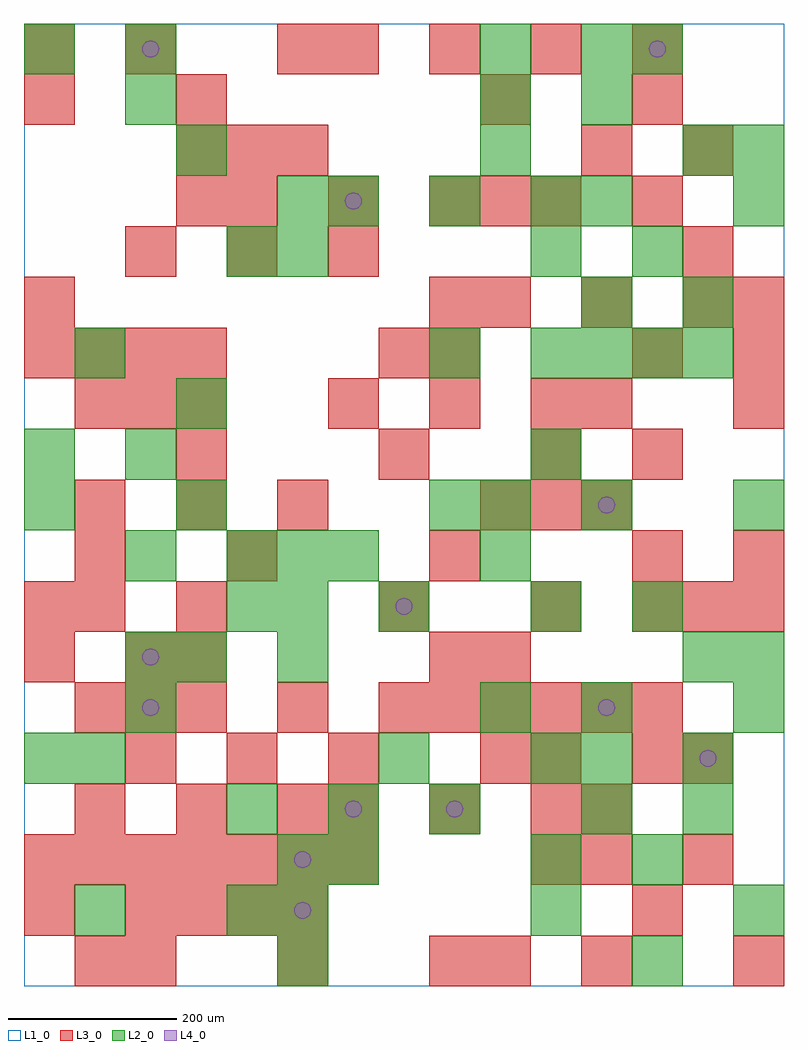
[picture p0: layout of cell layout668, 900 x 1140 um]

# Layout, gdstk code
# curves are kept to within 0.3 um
import gdstk
lib = gdstk.Library(unit=1e-6, precision=1e-09)
def R(c, l, rs):  # rectangles x0, y0, x1, y1
    for r in rs: c.add(gdstk.rectangle(r[:2], r[2:], *l))
def A(c, l, x, y, w, h, nx, ny, dx, dy):  # array of equal rectangles
    R(c, l, [(x+i*dx, y+j*dy, x+i*dx+w, y+j*dy+h) for i in range(nx) for j in range(ny)])
def P(c, l, *ps):  # polygons
    for p in ps: c.add(gdstk.Polygon(p, *l))
L1_0 = (1, 0)
L2_0 = (2, 0)
L3_0 = (3, 0)
L4_0 = (4, 0)

layout668 = lib.new_cell('layout668')
R(layout668, L1_0, [(0,0,900,1140)])
A(layout668, L2_0, 300, 0, 60, 60, 1, 3, 0, 60)
A(layout668, L2_0, 240, 180, 60, 60, 3, 1, 120, 0)
A(layout668, L2_0, 660, 180, 60, 60, 1, 3, 0, 60)
A(layout668, L2_0, 600, 240, 60, 60, 1, 3, 0, 180)
A(layout668, L2_0, 120, 360, 60, 60, 1, 3, 0, 120)
A(layout668, L2_0, 240, 480, 60, 60, 3, 1, 60, 0)
A(layout668, L2_0, 600, 720, 60, 60, 4, 1, 60, 0)
A(layout668, L2_0, 660, 780, 60, 60, 1, 3, 0, 120)
A(layout668, L2_0, 360, 900, 60, 60, 3, 1, 120, 0)
A(layout668, L2_0, 540, 960, 60, 60, 1, 3, 0, 60)
R(layout668, L2_0, [(720,0,780,60), (60,60,120,120), (240,60,300,120), (600,60,660,120), (840,60,900,120), (360,120,420,180), (600,120,660,180), (720,120,780,180), (780,180,840,240), (0,240,60,300), (60,240,120,300), (420,240,480,300), (780,240,840,300), (120,300,180,360), (540,300,600,360), (840,300,900,360), (180,360,240,420), (300,360,360,420), (780,360,840,420), (840,360,900,420), (240,420,300,480), (300,420,360,480), (420,420,480,480), (720,420,780,480), (540,480,600,540), (0,540,60,600), (180,540,240,600), (480,540,540,600), (540,540,600,600), (660,540,720,600), (840,540,900,600), (0,600,60,660), (180,660,240,720), (60,720,120,780), (480,720,540,780), (780,780,840,840), (240,840,300,900), (300,840,360,900), (600,840,660,900), (720,840,780,900), (300,900,360,960), (840,900,900,960), (180,960,240,1020), (780,960,840,1020), (840,960,900,1020), (120,1020,180,1080), (0,1080,60,1140), (120,1080,180,1140), (660,1080,720,1140), (720,1080,780,1140)])
A(layout668, L3_0, 120, 0, 60, 60, 3, 1, 180, 0)
A(layout668, L3_0, 120, 60, 60, 60, 4, 1, 60, 0)
A(layout668, L3_0, 0, 120, 60, 60, 7, 1, 60, 0)
A(layout668, L3_0, 60, 180, 60, 60, 3, 2, 120, 360)
A(layout668, L3_0, 360, 180, 60, 60, 3, 2, 120, 480)
A(layout668, L3_0, 120, 240, 60, 60, 3, 2, 120, 600)
A(layout668, L3_0, 600, 240, 60, 60, 1, 3, 0, 180)
A(layout668, L3_0, 60, 300, 60, 60, 3, 2, 60, 360)
A(layout668, L3_0, 420, 300, 60, 60, 6, 1, 60, 0)
A(layout668, L3_0, 720, 420, 60, 60, 3, 1, 60, 0)
A(layout668, L3_0, 240, 480, 60, 60, 3, 1, 240, 0)
A(layout668, L3_0, 540, 540, 60, 60, 3, 1, 60, 0)
A(layout668, L3_0, 840, 660, 60, 60, 1, 3, 0, 60)
A(layout668, L3_0, 0, 720, 60, 60, 4, 1, 60, 0)
A(layout668, L3_0, 540, 780, 60, 60, 3, 1, 120, 0)
A(layout668, L3_0, 240, 900, 60, 60, 3, 1, 120, 0)
A(layout668, L3_0, 180, 960, 60, 60, 3, 1, 60, 0)
A(layout668, L3_0, 360, 1080, 60, 60, 4, 1, 120, 0)
R(layout668, L3_0, [(60,0,120,60), (540,0,600,60), (660,0,720,60), (840,0,900,60), (0,60,60,120), (720,60,780,120), (600,120,660,180), (660,120,720,180), (780,120,840,180), (660,180,720,240), (540,240,600,300), (720,240,780,300), (780,240,840,300), (300,300,360,360), (0,360,60,420), (120,360,180,420), (180,360,240,420), (480,360,540,420), (540,360,600,420), (0,420,60,480), (60,420,120,480), (180,420,240,480), (420,420,480,480), (60,480,120,540), (840,480,900,540), (180,600,240,660), (420,600,480,660), (720,600,780,660), (660,660,720,720), (420,720,480,780), (480,720,540,780), (720,720,780,780), (0,780,60,840), (480,780,540,840), (780,840,840,900), (180,900,240,960), (540,900,600,960), (600,900,660,960), (720,900,780,960), (660,960,720,1020), (780,960,840,1020), (0,1020,60,1080), (180,1020,240,1080), (540,1020,600,1080), (720,1020,780,1080), (0,1080,60,1140), (120,1080,180,1140), (300,1080,360,1140)])
P(layout668, L4_0, [(160,330),(159.239,333.827),(157.071,337.071),(153.827,339.239),(150,340),(146.173,339.239),(142.929,337.071),(140.761,333.827),(140,330),(140.761,326.173),(142.929,322.929),(146.173,320.761),(150,320),(153.827,320.761),(157.071,322.929),(159.239,326.173)],
  [(160,390),(159.239,393.827),(157.071,397.071),(153.827,399.239),(150,400),(146.173,399.239),(142.929,397.071),(140.761,393.827),(140,390),(140.761,386.173),(142.929,382.929),(146.173,380.761),(150,380),(153.827,380.761),(157.071,382.929),(159.239,386.173)],
  [(160,1110),(159.239,1113.827),(157.071,1117.071),(153.827,1119.239),(150,1120),(146.173,1119.239),(142.929,1117.071),(140.761,1113.827),(140,1110),(140.761,1106.173),(142.929,1102.929),(146.173,1100.761),(150,1100),(153.827,1100.761),(157.071,1102.929),(159.239,1106.173)],
  [(340,90),(339.239,93.827),(337.071,97.071),(333.827,99.239),(330,100),(326.173,99.239),(322.929,97.071),(320.761,93.827),(320,90),(320.761,86.173),(322.929,82.929),(326.173,80.761),(330,80),(333.827,80.761),(337.071,82.929),(339.239,86.173)],
  [(340,150),(339.239,153.827),(337.071,157.071),(333.827,159.239),(330,160),(326.173,159.239),(322.929,157.071),(320.761,153.827),(320,150),(320.761,146.173),(322.929,142.929),(326.173,140.761),(330,140),(333.827,140.761),(337.071,142.929),(339.239,146.173)],
  [(400,210),(399.239,213.827),(397.071,217.071),(393.827,219.239),(390,220),(386.173,219.239),(382.929,217.071),(380.761,213.827),(380,210),(380.761,206.173),(382.929,202.929),(386.173,200.761),(390,200),(393.827,200.761),(397.071,202.929),(399.239,206.173)],
  [(400,930),(399.239,933.827),(397.071,937.071),(393.827,939.239),(390,940),(386.173,939.239),(382.929,937.071),(380.761,933.827),(380,930),(380.761,926.173),(382.929,922.929),(386.173,920.761),(390,920),(393.827,920.761),(397.071,922.929),(399.239,926.173)],
  [(460,450),(459.239,453.827),(457.071,457.071),(453.827,459.239),(450,460),(446.173,459.239),(442.929,457.071),(440.761,453.827),(440,450),(440.761,446.173),(442.929,442.929),(446.173,440.761),(450,440),(453.827,440.761),(457.071,442.929),(459.239,446.173)],
  [(520,210),(519.239,213.827),(517.071,217.071),(513.827,219.239),(510,220),(506.173,219.239),(502.929,217.071),(500.761,213.827),(500,210),(500.761,206.173),(502.929,202.929),(506.173,200.761),(510,200),(513.827,200.761),(517.071,202.929),(519.239,206.173)],
  [(700,330),(699.239,333.827),(697.071,337.071),(693.827,339.239),(690,340),(686.173,339.239),(682.929,337.071),(680.761,333.827),(680,330),(680.761,326.173),(682.929,322.929),(686.173,320.761),(690,320),(693.827,320.761),(697.071,322.929),(699.239,326.173)],
  [(700,570),(699.239,573.827),(697.071,577.071),(693.827,579.239),(690,580),(686.173,579.239),(682.929,577.071),(680.761,573.827),(680,570),(680.761,566.173),(682.929,562.929),(686.173,560.761),(690,560),(693.827,560.761),(697.071,562.929),(699.239,566.173)],
  [(760,1110),(759.239,1113.827),(757.071,1117.071),(753.827,1119.239),(750,1120),(746.173,1119.239),(742.929,1117.071),(740.761,1113.827),(740,1110),(740.761,1106.173),(742.929,1102.929),(746.173,1100.761),(750,1100),(753.827,1100.761),(757.071,1102.929),(759.239,1106.173)],
  [(820,270),(819.239,273.827),(817.071,277.071),(813.827,279.239),(810,280),(806.173,279.239),(802.929,277.071),(800.761,273.827),(800,270),(800.761,266.173),(802.929,262.929),(806.173,260.761),(810,260),(813.827,260.761),(817.071,262.929),(819.239,266.173)])

lib.write_gds('layout668.gds')
